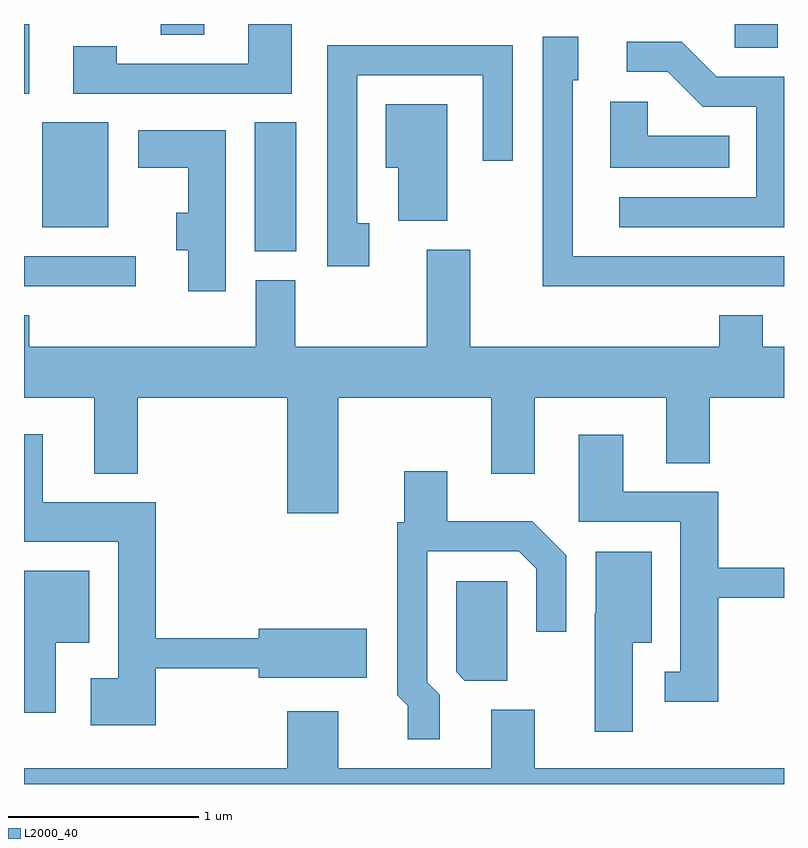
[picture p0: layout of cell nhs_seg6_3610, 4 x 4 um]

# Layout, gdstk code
import gdstk
lib = gdstk.Library(unit=1e-6, precision=1e-09)
def R(c, l, rs):  # rectangles x0, y0, x1, y1
    for r in rs: c.add(gdstk.rectangle(r[:2], r[2:], *l))
def P(c, l, *ps):  # polygons
    for p in ps: c.add(gdstk.Polygon(p, *l))
L2000_40 = (2000, 40)

nhs_seg6_3610 = lib.new_cell('nhs_seg6_3610')
R(nhs_seg6_3610, L2000_40, [(293.611,1612.781,294.198,1612.939), (294.826,1612.966,295.044,1613.644), (293.706,1613.091,294.054,1613.644), (293.611,1613.796,293.639,1614.162), (297.351,1614.036,297.579,1614.162), (294.331,1614.106,294.559,1614.162)])
P(nhs_seg6_3610, L2000_40, [(295.019,1614.162),(294.791,1614.162),(294.791,1613.954),(294.099,1613.954),(294.099,1614.044),(293.871,1614.044),(293.871,1613.796),(295.019,1613.796)],
  [(297.611,1612.939),(296.499,1612.939),(296.499,1613.866),(296.529,1613.866),(296.529,1614.094),(296.341,1614.094),(296.341,1612.781),(297.611,1612.781)],
  [(297.611,1613.884),(297.257,1613.884),(297.072,1614.069),(296.783,1614.069),(296.783,1613.911),(296.999,1613.911),(297.184,1613.726),(297.466,1613.726),(297.466,1613.249),(296.743,1613.249),(296.743,1613.091),(297.611,1613.091)],
  [(295.429,1613.114),(295.364,1613.114),(295.364,1613.891),(296.026,1613.891),(296.026,1613.443),(296.184,1613.443),(296.184,1614.049),(295.206,1614.049),(295.206,1612.886),(295.429,1612.886)],
  [(297.323,1613.574),(296.894,1613.574),(296.894,1613.754),(296.696,1613.754),(296.696,1613.406),(297.323,1613.406)],
  [(295.839,1613.739),(295.516,1613.739),(295.516,1613.406),(295.581,1613.406),(295.581,1613.126),(295.839,1613.126)],
  [(294.674,1613.604),(294.211,1613.604),(294.211,1613.406),(294.476,1613.406),(294.476,1613.169),(294.411,1613.169),(294.411,1612.971),(294.476,1612.971),(294.476,1612.756),(294.674,1612.756)],
  [(295.959,1612.974),(295.731,1612.974),(295.731,1612.464),(295.039,1612.464),(295.039,1612.814),(294.831,1612.814),(294.831,1612.464),(293.639,1612.464),(293.639,1612.629),(293.611,1612.629),(293.611,1612.196),(293.981,1612.196),(293.981,1611.796),(294.209,1611.796),(294.209,1612.196),(294.996,1612.196),(294.996,1611.586),(295.264,1611.586),(295.264,1612.196),(296.071,1612.196),(296.071,1611.796),(296.299,1611.796),(296.299,1612.196),(296.991,1612.196),(296.991,1611.851),(297.219,1611.851),(297.219,1612.196),(297.611,1612.196),(297.611,1612.464),(297.499,1612.464),(297.499,1612.629),(297.271,1612.629),(297.271,1612.464),(295.959,1612.464)],
  [(294.304,1610.771),(294.846,1610.771),(294.846,1610.721),(295.414,1610.721),(295.414,1610.979),(294.846,1610.979),(294.846,1610.929),(294.304,1610.929),(294.304,1611.644),(293.709,1611.644),(293.709,1612.004),(293.611,1612.004),(293.611,1611.436),(294.106,1611.436),(294.106,1610.719),(293.961,1610.719),(293.961,1610.471),(294.304,1610.471)],
  [(297.264,1611.141),(297.611,1611.141),(297.611,1611.299),(297.264,1611.299),(297.264,1611.699),(296.764,1611.699),(296.764,1611.999),(296.531,1611.999),(296.531,1611.541),(297.066,1611.541),(297.066,1610.754),(296.983,1610.754),(296.983,1610.596),(297.264,1610.596)],
  [(295.799,1610.632),(295.734,1610.697),(295.734,1611.386),(296.214,1611.386),(296.306,1611.294),(296.306,1610.963),(296.464,1610.963),(296.464,1611.367),(296.287,1611.544),(295.839,1611.544),(295.839,1611.809),(295.611,1611.809),(295.611,1611.539),(295.576,1611.539),(295.576,1610.629),(295.631,1610.574),(295.631,1610.398),(295.799,1610.398)],
  [(296.814,1610.906),(296.914,1610.906),(296.914,1611.384),(296.621,1611.384),(296.621,1611.06),(296.616,1611.06),(296.616,1610.436),(296.814,1610.436)],
  [(293.779,1610.906),(293.954,1610.906),(293.954,1611.284),(293.611,1611.284),(293.611,1610.536),(293.779,1610.536)],
  [(296.154,1611.229),(295.886,1611.229),(295.886,1610.752),(295.932,1610.706),(296.154,1610.706)],
  [(297.611,1610.244),(296.299,1610.244),(296.299,1610.554),(296.071,1610.554),(296.071,1610.244),(295.264,1610.244),(295.264,1610.544),(294.996,1610.544),(294.996,1610.244),(293.611,1610.244),(293.611,1610.162),(297.611,1610.162)])

lib.write_gds('nhs_seg6_3610.gds')
